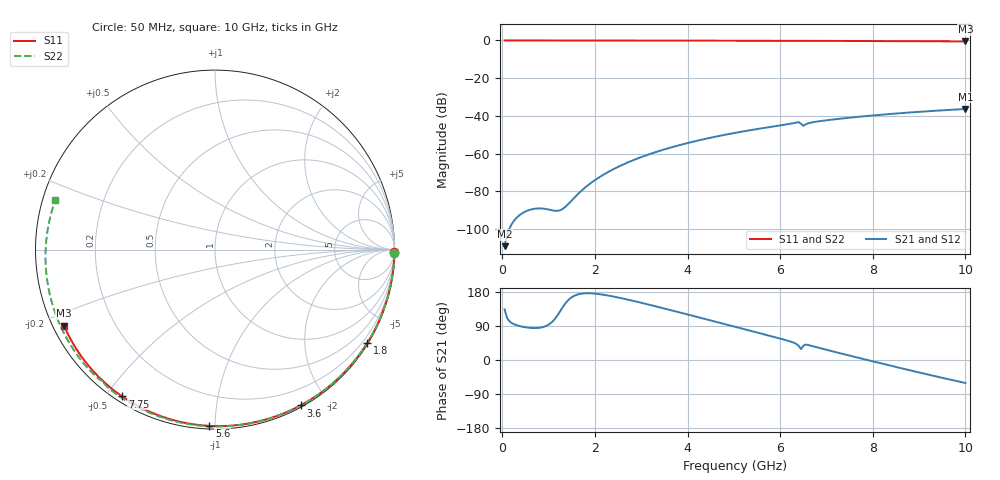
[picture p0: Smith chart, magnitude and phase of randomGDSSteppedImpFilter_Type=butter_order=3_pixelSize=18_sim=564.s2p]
! freq	dB(S11)	phase(S11)	dB(S12)	phase(S12)
!  dB(S21)	phase(S21)	dB(S22)	phase(S22)
!S-par simulation data
#  GHz  S  DB  R 50
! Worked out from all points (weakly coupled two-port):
!   200 points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, 50 MHz to 10 GHz, reference 50 ohm
!   highest |S21| = -36.37 dB at 10 GHz (marker M1); lowest = -109.2 dB at 50 MHz (marker M2)
!   lowest |S11| = -0.5 dB at 10 GHz (marker M3), VSWR 33.31, Z = 1.59 - j11.9 ohm
!   |S11| at or under -10 dB: nowhere
!   |S22| runs from -0.6 to 0.0 dB; largest |S21 - S12| = 0
!   S11 on the Smith chart (normalised r, x): 50 MHz: open; 1.8 GHz: 0.03, -3.55; 3.6 GHz: 0.02, -1.69; 5.6 GHz: 0.02, -0.97; 7.75 GHz: 0.02, -0.55; 10 GHz: 0.03, -0.24
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0.05  -0.00 -0.9  -109.18 133.8  -109.18 133.8  -0.00 -1.1
0.45  -0.01 -8.0  -91.44 87.4  -91.44 87.4  -0.01 -10.1
0.85  -0.02 -15.0  -89.18 86.1  -89.18 86.1  -0.02 -19.0
1.7  -0.04 -29.7  -79.97 174.9  -79.97 174.9  -0.05 -37.6
1.75  -0.04 -30.6  -78.88 175.7  -78.88 175.7  -0.05 -38.6
1.8  -0.04 -31.4  -77.83 176.1  -77.83 176.1  -0.05 -39.7
2.1  -0.05 -36.5  -72.50 173.7  -72.50 173.7  -0.06 -46.1
2.45  -0.05 -42.4  -67.69 166.3  -67.69 166.3  -0.07 -53.5
2.9  -0.06 -49.9  -62.84 154.0  -62.84 154.0  -0.08 -62.8
3.4  -0.08 -58.0  -58.56 138.9  -58.56 138.9  -0.10 -72.9
3.6  -0.08 -61.3  -57.09 132.8  -57.09 132.8  -0.10 -76.9
4.3  -0.10 -72.3  -52.69 110.7  -52.69 110.7  -0.13 -90.5
5.05  -0.13 -83.7  -48.94 86.9  -48.94 86.9  -0.16 -104.6
5.6  -0.15 -91.9  -46.63 69.5  -46.63 69.5  -0.19 -114.8
6.4  -0.19 -103.4  -43.33 37.2  -43.33 37.2  -0.29 -129.7
6.5  -0.20 -104.8  -45.33 37.6  -45.33 37.6  -0.33 -130.6
6.6  -0.20 -106.3  -44.02 39.7  -44.02 39.7  -0.27 -132.5
6.7  -0.21 -107.7  -43.44 36.6  -43.44 36.6  -0.27 -134.4
7.75  -0.28 -122.3  -40.38 4.0  -40.38 4.0  -0.35 -153.5
8.35  -0.34 -130.5  -39.08 -13.9  -39.08 -13.9  -0.41 -164.6
9.2  -0.42 -142.2  -37.55 -38.6  -37.55 -38.6  -0.51 179.0
10  -0.52 -153.3  -36.37 -60.6  -36.37 -60.6  -0.62 162.7
